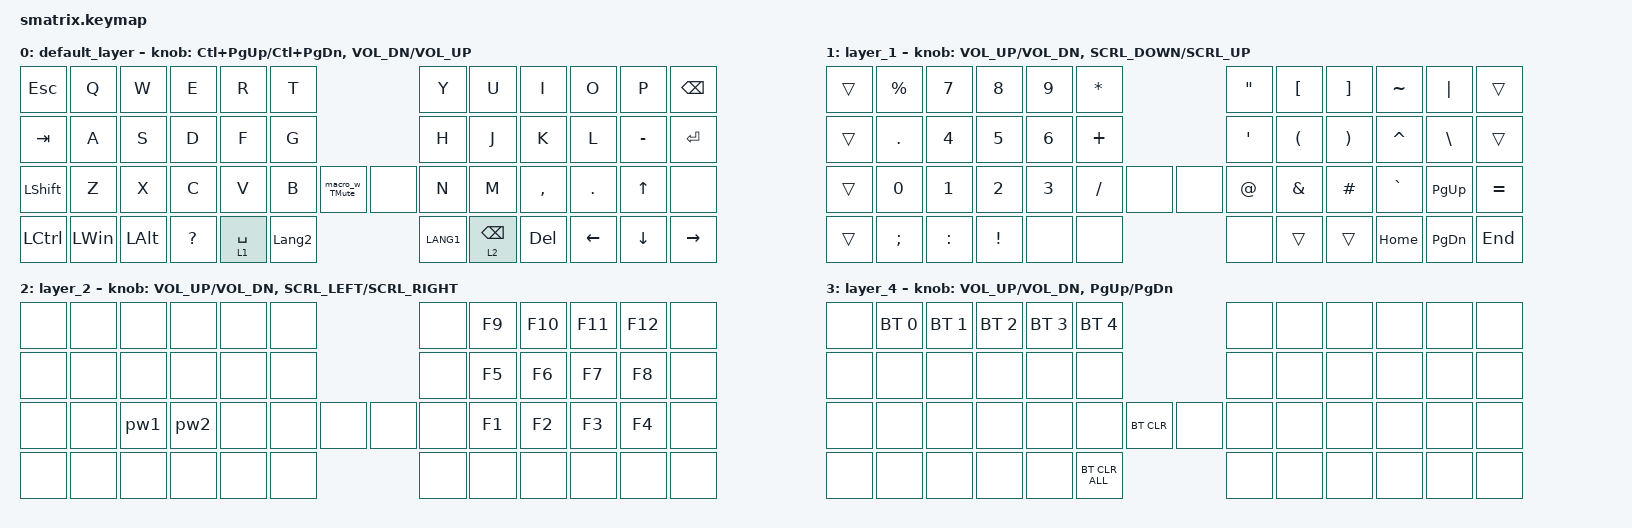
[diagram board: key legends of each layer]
#define ZMK_POINTING_DEFAULT_MOVE_VAL 800
#define ZMK_POINTING_DEFAULT_SCRL_VAL 120

#include <input/processors.dtsi>
#include <zephyr/dt-bindings/input/input-event-codes.h>
#include <behaviors.dtsi>
#include <dt-bindings/zmk/bt.h>
#include <dt-bindings/zmk/keys.h>
#include <dt-bindings/zmk/pointing.h>

&mt {
    flavor = "balanced";
    quick-tap-ms = <0>;
};

&msc {
    delay-ms = <0>;
    trigger-period-ms = <10>;
    time-to-max-speed-ms = <0>;
    acceleration-exponent = <0>;
};

/ {
    input_processors {
        zip_wheel_scaler: zip_wheel_scaler {
            compatible = "zmk,input-processor-scaler";
            #input-processor-cells = <2>;
            type = <INPUT_EV_REL>;
            codes = <INPUT_REL_WHEEL>;
            track-remainders;
        };
    };
};

&msc_input_listener {
    warp {
        layers = <0>;
        input-processors = <&zip_wheel_scaler 4 1>;
    };

    precision {
        layers = <1>;
        input-processors = <&zip_wheel_scaler 1 2>;
    };
};

/ {
    behaviors {
        rot_kp: sensor_rotate_kp {
            compatible = "zmk,behavior-sensor-rotate-var";
            #sensor-binding-cells = <2>;
            bindings = <&kp>, <&kp>;
        };

        mouse_click: mouse_button_kp {
            compatible = "zmk,behavior-sensor-rotate-var";
            #sensor-binding-cells = <2>;
            bindings = <&mkp>, <&mkp>;
        };

        mouse_scrl: mouse_wheel_scrl {
            compatible = "zmk,behavior-sensor-rotate-var";
            #sensor-binding-cells = <2>;
            bindings = <&msc>, <&msc>;

            tap-ms = <10>;
        };

        macro_w_TMute: macro_w_TMute {
            compatible = "zmk,behavior-macro";
            label = "Win Teams Mic Mute";
            #binding-cells = <0>;
            bindings =
                <&macro_press>,
                <&kp LGUI &kp LALT>,
                <&macro_tap>,
                <&kp K>,
                <&macro_release>,
                <&kp LGUI &kp LALT>;
        };

        pw1: pw1 {
            compatible = "zmk,behavior-macro";
            #binding-cells = <0>;
            bindings = <&kp LS(U) &kp J &kp C &kp DOT &kp N3 &kp N0 &kp N7 &kp N0 &kp EXCL>;
            label = "PW1";
        };

        pw2: pw2 {
            compatible = "zmk,behavior-macro";
            #binding-cells = <0>;
            bindings = <&kp LS(U) &kp J &kp C &kp DOT &kp N2 &kp N0 &kp N2 &kp N6 &kp N0 &kp N5 &kp N0 &kp N1>;
            label = "PW2";
        };

        PasteFormula: PasteFormula {
            compatible = "zmk,behavior-macro";
            #binding-cells = <0>;
            bindings = <&kp LC(LA(V)) &kp F &kp ENTER>;
            label = "PASTEFORMULA";
        };

        PasteFormat: PasteFormat {
            compatible = "zmk,behavior-macro";
            #binding-cells = <0>;
            bindings = <&kp LC(LA(V)) &kp T &kp RET>;
            label = "PASTEFORMAT";
        };
    };

    macros {
    };

    combos {
        compatible = "zmk,combos";

        CtrlA {
            bindings = <&kp LC(A)>;
            key-positions = <13 25>;
        };

        CtrlC {
            bindings = <&kp LC(C)>;
            key-positions = <27 41>;
        };

        CtrlF {
            bindings = <&kp LC(F)>;
            key-positions = <16 28>;
        };

        CtrlH {
            bindings = <&kp LC(H)>;
            key-positions = <18 32>;
        };

        CtrlShiftL {
            bindings = <&kp LC(LS(L))>;
            key-positions = <35 21>;
        };

        CtrlB {
            bindings = <&kp LC(B)>;
            key-positions = <29 42>;
        };

        CtrlP {
            bindings = <&kp LC(P)>;
            key-positions = <10 22>;
        };

        CtrlR {
            bindings = <&kp LC(R)>;
            key-positions = <4 16>;
        };

        CtrlS {
            bindings = <&kp LC(S)>;
            key-positions = <14 26>;
        };

        CtrlT {
            bindings = <&kp LC(T)>;
            key-positions = <5 17>;
        };

        CtrlV {
            bindings = <&kp LC(V)>;
            key-positions = <28 41>;
        };

        CtrlW {
            bindings = <&kp LC(W)>;
            key-positions = <2 14>;
        };

        CtrlX {
            bindings = <&kp LC(X)>;
            key-positions = <26 40>;
        };

        CtrlY {
            bindings = <&kp LC(Y)>;
            key-positions = <6 18>;
        };

        CtrlZ {
            bindings = <&kp LC(Z)>;
            key-positions = <25 39>;
        };

        Next {
            bindings = <&kp LC(PAGE_DOWN)>;
            key-positions = <37 49>;
        };

        Prev {
            bindings = <&kp LC(PAGE_UP)>;
            key-positions = <36 48>;
        };

        ShiftAltRight {
            bindings = <&kp LS(LA(RIGHT))>;
            key-positions = <17 29>;
        };

        CtrlShiftV {
            bindings = <&kp LS(LC(V))>;
            key-positions = <28 29>;
        };

        PasteFormula {
            bindings = <&PasteFormula>;
            key-positions = <28 42>;
        };

        PasteFormat {
            bindings = <&PasteFormat>;
            key-positions = <28 43>;
        };
    };

    keymap {
        compatible = "zmk,keymap";

        default_layer {
            bindings = <
&kp ESCAPE  &kp Q         &kp W         &kp E         &kp R        &kp T                                    &kp Y      &kp U            &kp I      &kp O       &kp P      &kp BACKSPACE
&kp TAB     &kp A         &kp S         &kp D         &kp F        &kp G                                    &kp H      &kp J            &kp K      &kp L       &kp MINUS  &kp ENTER
&kp LSHFT   &kp Z         &kp X         &kp C         &kp V        &kp B           &macro_w_TMute    &none  &kp N      &kp M            &kp COMMA  &kp PERIOD  &kp UP     &none
&kp LCTRL   &kp LEFT_WIN  &kp LEFT_ALT  &kp QUESTION  &lt 1 SPACE  &kp LANGUAGE_2                           &kp LANG1  &lt 2 BACKSPACE  &kp DEL    &kp LEFT    &kp DOWN   &kp RIGHT
            >;

            sensor-bindings =
                <&rot_kp LC(PAGE_UP) LC(PAGE_DOWN)>,
                <&inc_dec_kp C_VOL_DN C_VOLUME_UP>;
        };

        layer_1 {
            bindings = <
&trans  &kp PERCENT    &kp N7        &kp N8           &kp N9        &kp ASTERISK                  &kp DOUBLE_QUOTES  &kp LEFT_BRACKET      &kp RIGHT_BRACKET      &kp TILDE  &kp PIPE       &trans
&trans  &kp DOT        &kp NUMBER_4  &kp N5           &kp NUMBER_6  &kp PLUS                      &kp SQT            &kp LEFT_PARENTHESIS  &kp RIGHT_PARENTHESIS  &kp CARET  &kp BACKSLASH  &trans
&trans  &kp N0         &kp NUMBER_1  &kp NUMBER_2     &kp NUMBER_3  &kp SLASH     &none    &none  &kp AT_SIGN        &kp AMPERSAND         &kp HASH               &kp GRAVE  &kp PAGE_UP    &kp EQUAL
&trans  &kp SEMICOLON  &kp COLON     &kp EXCLAMATION  &none         &none                         &none              &trans                &trans                 &kp HOME   &kp PAGE_DOWN  &kp END
            >;

            sensor-bindings =
                <&rot_kp C_VOL_UP C_VOL_DN>,
                <&mouse_scrl SCRL_DOWN SCRL_UP>;
        };

        layer_2 {
            bindings = <
&none  &none  &none  &none  &none  &none                  &none  &kp F9  &kp F10  &kp F11  &kp F12  &none
&none  &none  &none  &none  &none  &none                  &none  &kp F5  &kp F6   &kp F7   &kp F8   &none
&none  &none  &pw1   &pw2   &none  &none  &none    &none  &none  &kp F1  &kp F2   &kp F3   &kp F4   &none
&none  &none  &none  &none  &none  &none                  &none  &none   &none    &none    &none    &none
            >;

            sensor-bindings = <&rot_kp C_VOL_UP C_VOL_DN    &mouse_scrl SCRL_LEFT SCRL_RIGHT>;
        };

        layer_4 {
            bindings = <
&none  &bt BT_SEL 0  &bt BT_SEL 1  &bt BT_SEL 2  &bt BT_SEL 3  &bt BT_SEL 4                         &none  &none  &none  &none  &none  &none
&none  &none         &none         &none         &none         &none                                &none  &none  &none  &none  &none  &none
&none  &none         &none         &none         &none         &none           &bt BT_CLR    &none  &none  &none  &none  &none  &none  &none
&none  &none         &none         &none         &none         &bt BT_CLR_ALL                       &none  &none  &none  &none  &none  &none
            >;

            sensor-bindings = <&rot_kp C_VOL_UP C_VOL_DN    &rot_kp PG_UP PG_DN>;
        };
    };
};
